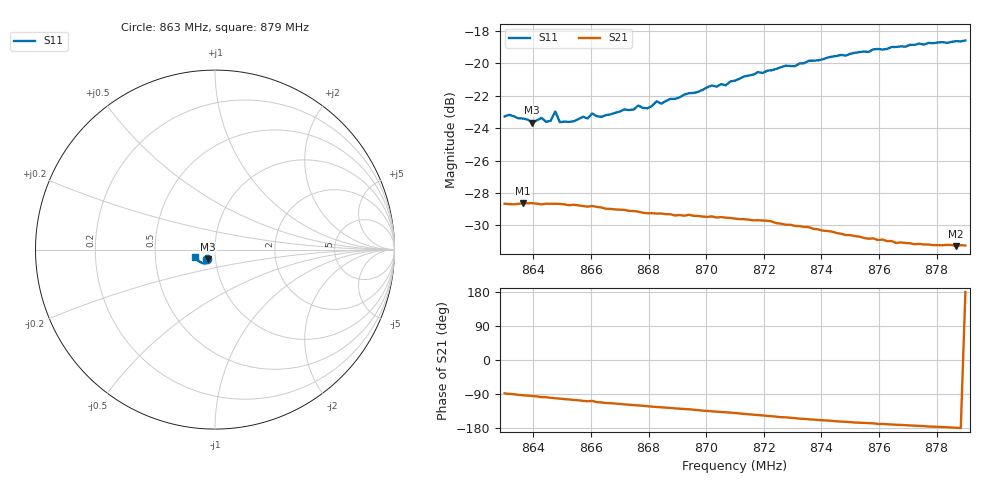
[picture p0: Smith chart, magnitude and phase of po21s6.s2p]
# HZ S RI R 50
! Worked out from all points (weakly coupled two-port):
!   101 points, 863 MHz to 879 MHz, reference 50 ohm
!   highest |S21| = -28.62 dB at 863.64 MHz (marker M1); lowest = -31.3 dB at 878.68 MHz (marker M2)
!   lowest |S11| = -23.7 dB at 863.96 MHz (marker M3), VSWR 1.14, Z = 46.1 - j4.96 ohm
!   |S11| at or under -10 dB: start of sweep to end of sweep
!   S12 and S22 are empty: the file has one direction only
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8.63e8  -0.0431 -0.0534  0.00127 -0.0369  0 0  0 0
8.6364e8  -0.0408 -0.0539  -0.00198 -0.037  0 0  0 0
8.6396e8  -0.0379 -0.0536  -0.0033 -0.0369  0 0  0 0
8.6428e8  -0.0385 -0.0559  -0.00508 -0.0363  0 0  0 0
8.646e8  -0.0379 -0.0547  -0.0063 -0.0363  0 0  0 0
8.6476e8  -0.0433 -0.0563  -0.00702 -0.0362  0 0  0 0
8.6492e8  -0.0353 -0.0555  -0.00761 -0.036  0 0  0 0
8.6572e8  -0.0345 -0.0591  -0.0111 -0.0345  0 0  0 0
8.6588e8  -0.0342 -0.0583  -0.0117 -0.0341  0 0  0 0
8.6604e8  -0.0382 -0.0587  -0.0112 -0.0345  0 0  0 0
8.6636e8  -0.0352 -0.0587  -0.0134 -0.0333  0 0  0 0
8.6748e8  -0.0336 -0.0637  -0.0171 -0.0306  0 0  0 0
8.6764e8  -0.0355 -0.0651  -0.0173 -0.0303  0 0  0 0
8.6796e8  -0.0349 -0.0638  -0.0183 -0.0292  0 0  0 0
8.6828e8  -0.0358 -0.0675  -0.0192 -0.0285  0 0  0 0
8.6844e8  -0.0363 -0.0658  -0.0196 -0.0282  0 0  0 0
8.71e8  -0.0485 -0.074  -0.0254 -0.0214  0 0  0 0
8.718e8  -0.0544 -0.0767  -0.027 -0.0186  0 0  0 0
8.7372e8  -0.0682 -0.0758  -0.0284 -0.012  0 0  0 0
8.7644e8  -0.094 -0.0617  -0.0279 -0.00481  0 0  0 0
8.7868e8  -0.1095 -0.0417  -0.0273 -0.00053  0 0  0 0
8.79e8  -0.1112 -0.0389  -0.0274 0.000237  0 0  0 0
